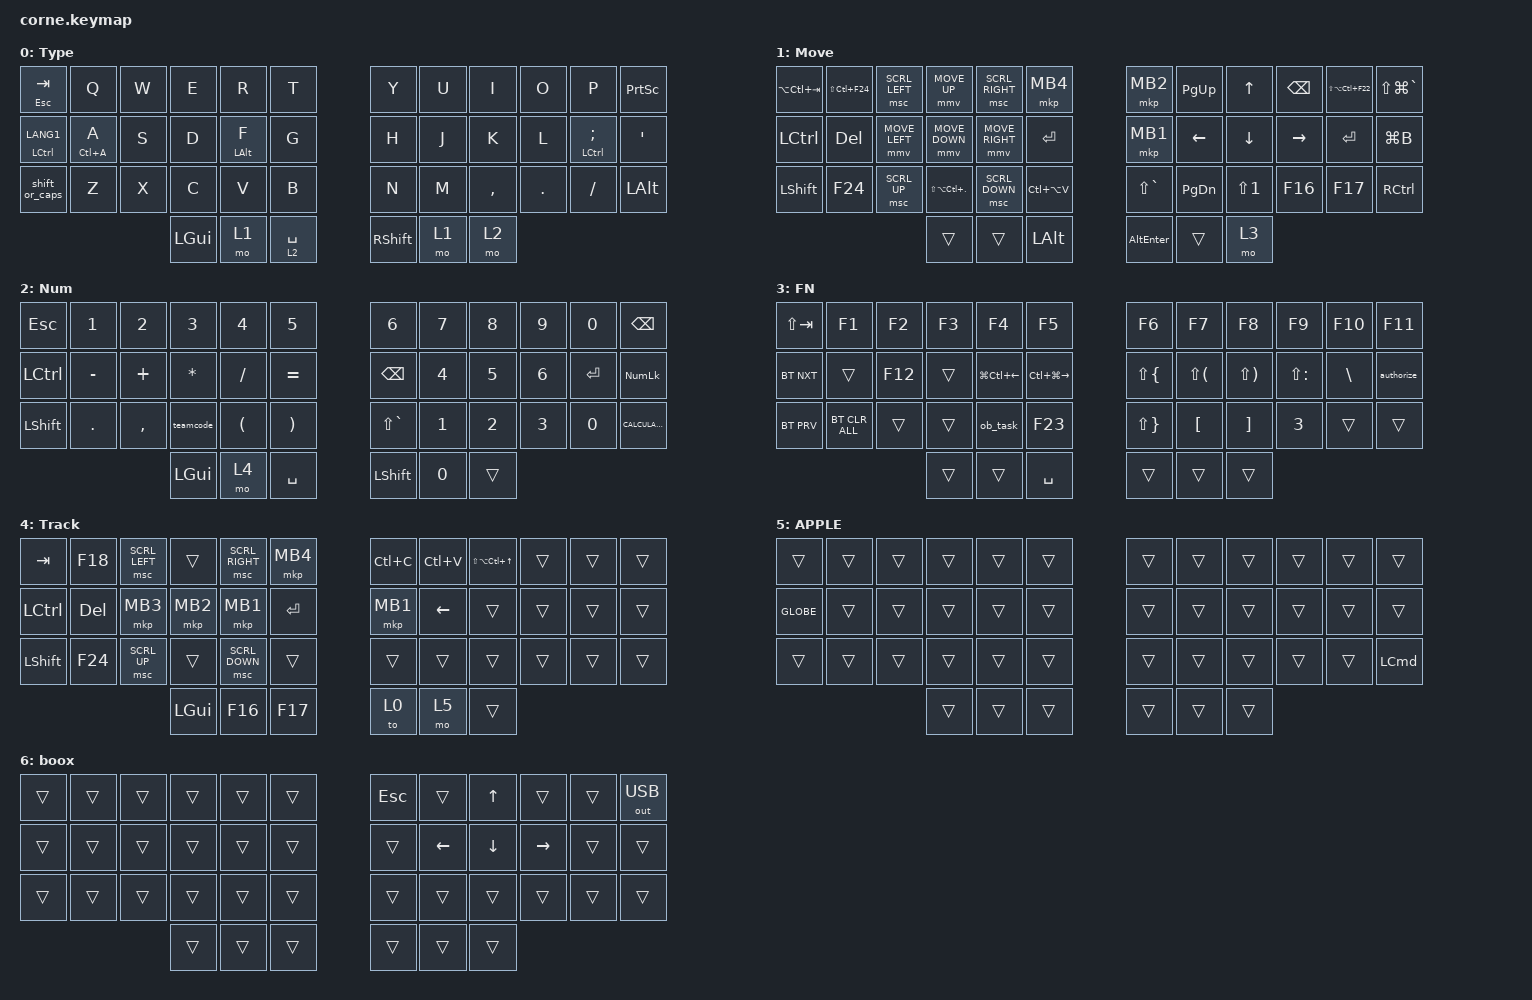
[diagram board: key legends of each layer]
/*
 * Copyright (c) 2020 The ZMK Contributors
 *
 * SPDX-License-Identifier: MIT
 */

#include <behaviors.dtsi>
#include <dt-bindings/zmk/bt.h>
#include <dt-bindings/zmk/keys.h>
#include <dt-bindings/zmk/outputs.h>
#include <dt-bindings/zmk/pointing.h>

#define DEFAULT 0
#define NUMBER  1
#define FN      2
#define HOTKEY  3

/ {
    behaviors {
        Tab_or_Esc: Tab_or_Esc {
            compatible = "zmk,behavior-hold-tap";
            label = "TAB_OR_ESC";
            bindings = <&kp>, <&kp>;

            #binding-cells = <2>;
            tapping-term-ms = <150>;
            flavor = "balanced";
        };

        Alt_or_F: Alt_or_F {
            compatible = "zmk,behavior-hold-tap";
            label = "ALT_OR_F";
            bindings = <&kp>, <&kp>;

            #binding-cells = <2>;
            tapping-term-ms = <250>;
            flavor = "tap-preferred";
        };

        ctrlA_or_A: ctrlA_or_A {
            compatible = "zmk,behavior-hold-tap";
            label = "CTRLA_OR_A";
            bindings = <&kp>, <&kp>;

            #binding-cells = <2>;
            tapping-term-ms = <250>;
            flavor = "tap-preferred";
        };

        Lang_or_Ctrl: Lang_or_Ctrl {
            compatible = "zmk,behavior-hold-tap";
            label = "LANG_OR_CTRL";
            bindings = <&kp>, <&kp>;

            #binding-cells = <2>;
            tapping-term-ms = <200>;
            flavor = "tap-preferred";
            hold-trigger-key-positions = <27 28>;
            quick-tap-ms = <150>;
        };

        semi_or_ctrl: semi_or_ctrl {
            compatible = "zmk,behavior-hold-tap";
            label = "SEMI_OR_CTRL";
            bindings = <&kp>, <&kp>;

            #binding-cells = <2>;
            tapping-term-ms = <100>;
            flavor = "hold-preferred";
            hold-trigger-key-positions = <5 4 3 2 0 1 12 13 14 17 16 15 24 25 26 27 28 29 37 36 38 39 40 41 8 7 6 9 10 11 23 35 34 33 32 30 18 19 20 31 21>;
        };

        shiftorcaps: shiftorcaps {
            compatible = "zmk,behavior-tap-dance";
            label = "SHIFTORCAPS";
            #binding-cells = <0>;
            bindings = <&kp LEFT_SHIFT>, <&kp CAPSLOCK>;
        };

        F4_or_AltF4: F4_or_AltF4 {
            compatible = "zmk,behavior-hold-tap";
            label = "F4_OR_ALTF4";
            bindings = <&kp>, <&kp>;

            #binding-cells = <2>;
            tapping-term-ms = <200>;
            flavor = "tap-preferred";
        };

        shift_or_caps: shift_or_caps {
            compatible = "zmk,behavior-tap-dance";
            label = "SHIFT_OR_CAPS";
            #binding-cells = <0>;
            bindings = <&kp LEFT_SHIFT>, <&kp CAPSLOCK>;
        };
    };

    macros {
        teamcode: teamcode {
            compatible = "zmk,behavior-macro";
            #binding-cells = <0>;
            bindings = <&kp N1 &kp N0 &kp N0 &kp N2 &kp N6 &kp N2 &kp N0 &kp N0 &kp N0>;
            label = "TEAMCODE";
        };

        ob_task: ob_task {
            compatible = "zmk,behavior-macro";
            #binding-cells = <0>;
            bindings = <&none &kp MINUS &kp SPACE &kp LBKT &kp SPACE &kp RBKT &kp SPACE>;
            label = "OB_TASK";
        };

        iphone_lock: iphone_lock {
            compatible = "zmk,behavior-macro";
            #binding-cells = <0>;
            bindings = <&kp LC(LG(Q)) &out OUT_TOG &tog 5 &bt BT_SEL 0>;
            label = "IPHONE_LOCK";
        };

        MS_AlignCenter: MS_AlignCenter {
            compatible = "zmk,behavior-macro";
            #binding-cells = <0>;
            bindings = <&kp LEFT_ALT &kp H &kp A &kp C>;
            label = "MS_ALIGNCENTER";
        };

        MS_fill: MS_fill {
            compatible = "zmk,behavior-macro";
            #binding-cells = <0>;
            bindings = <&kp LEFT_ALT &kp H &kp DOWN &kp DOWN &kp RIGHT &kp UP_ARROW &kp RIGHT &kp ENTER>;
            label = "MS_FILL";
        };

        AltEnter: AltEnter {
            compatible = "zmk,behavior-macro";
            #binding-cells = <0>;
            bindings =
                <&macro_press>,
                <&kp LEFT_ALT>,
                <&macro_tap>,
                <&kp ENTER>,
                <&macro_release>,
                <&kp LEFT_ALT>;

            label = "ALTENTER";
            wait-ms = <50>;
        };

        authorize: authorize {
            compatible = "zmk,behavior-macro";
            #binding-cells = <0>;
            bindings = <&none &kp LS(R) &kp E &kp C &kp E &kp N &kp S &kp EXCL &kp N0 &kp N1 &kp N6>;
            label = "AUTHORIZE";
            tap-ms = <100>;
            wait-ms = <50>;
        };
    };

    combos {
        compatible = "zmk,combos";

        iphone_lock {
            bindings = <&iphone_lock>;
            key-positions = <19 20 21>;
        };

        menu {
            bindings = <&kp K_CONTEXT_MENU>;
            key-positions = <19 9>;
        };

        f2combo {
            bindings = <&kp F2>;
            key-positions = <16 2>;
        };

        f4_or_altf4 {
            bindings = <&F4_or_AltF4 LA(F4) F4>;
            key-positions = <16 4>;
        };

        search {
            bindings = <&kp LA(INSERT)>;
            key-positions = <38 39>;
        };

        scan {
            bindings = <&kp LS(LC(LA(F24)))>;
            key-positions = <5 2>;
        };

        wr {
            bindings = <&kp LS(LA(LC(F13)))>;
            key-positions = <2 4>;
        };

        row {
            bindings = <&kp LS(SPACE)>;
            key-positions = <19 21>;
        };

        column {
            bindings = <&kp LC(SPACE)>;
            key-positions = <8 20>;
        };

        ms_fill {
            bindings = <&MS_fill>;
            key-positions = <27 15>;
        };

        MS_AlignCenter {
            bindings = <&MS_AlignCenter>;
            key-positions = <13 27>;
        };

        ToType {
            bindings = <&to 0>;
            key-positions = <19 20 21 22>;
        };
    };

    keymap {
        compatible = "zmk,keymap";

        L0 {
            label = "Type";
            bindings = <
&Tab_or_Esc ESC TAB        &kp Q                &kp W  &kp E         &kp R             &kp T          &kp Y       &kp U  &kp I      &kp O    &kp P                          &kp PRINTSCREEN
&Lang_or_Ctrl LCTRL LANG1  &ctrlA_or_A LC(A) A  &kp S  &kp D         &Alt_or_F LALT F  &kp G          &kp H       &kp J  &kp K      &kp L    &semi_or_ctrl LCTRL SEMICOLON  &kp SQT
&shift_or_caps             &kp Z                &kp X  &kp C         &kp V             &kp B          &kp N       &kp M  &kp COMMA  &kp DOT  &kp FSLH                       &kp LEFT_ALT
                                                       &kp LEFT_GUI  &mo 1             &lt 2 SPACE    &kp RSHIFT  &mo 1  &mo 2
            >;
        };

        L1 {
            label = "Move";
            bindings = <
&kp LA(LC(TAB))  &kp LS(LC(F24))  &msc SCRL_LEFT  &mmv MOVE_UP            &msc SCRL_RIGHT  &mkp MB4         &mkp MB2       &kp PAGE_UP    &kp UP            &kp BACKSPACE  &kp LS(LA(LC(F22)))  &kp LS(LG(GRAVE))
&kp LCTRL        &kp DELETE       &mmv MOVE_LEFT  &mmv MOVE_DOWN          &mmv MOVE_RIGHT  &kp ENTER        &mkp MB1       &kp LEFT       &kp DOWN          &kp RIGHT      &kp ENTER            &kp LG(B)
&kp LEFT_SHIFT   &kp F24          &msc SCRL_UP    &kp LS(LA(LC(PERIOD)))  &msc SCRL_DOWN   &kp LC(LA(V))    &kp LS(GRAVE)  &kp PAGE_DOWN  &kp LS(NUMBER_1)  &kp F16        &kp F17              &kp RCTRL
                                                  &trans                  &trans           &kp LALT         &AltEnter      &trans         &mo 3
            >;
        };

        L2 {
            label = "Num";
            bindings = <
&kp ESC     &kp N1      &kp N2     &kp N3        &kp N4                &kp N5                   &kp N6         &kp N7  &kp N8        &kp N9        &kp N0     &kp BACKSPACE
&kp LCTRL   &kp MINUS   &kp PLUS   &kp ASTERISK  &kp SLASH             &kp EQUAL                &kp BACKSPACE  &kp N4  &kp N5        &kp NUMBER_6  &kp ENTER  &kp KP_NUMLOCK
&kp LSHIFT  &kp PERIOD  &kp COMMA  &teamcode     &kp LEFT_PARENTHESIS  &kp RIGHT_PARENTHESIS    &kp LS(GRAVE)  &kp N1  &kp NUMBER_2  &kp NUMBER_3  &kp N0     &kp K_CALCULATOR
                                   &kp LEFT_GUI  &mo 4                 &kp SPACE                &kp LSHFT      &kp N0  &trans
            >;
        };

        L3 {
            label = "FN";
            bindings = <
&kp LS(TAB)  &kp F1          &kp F2   &kp F3  &kp F4                  &kp F5               &kp F6        &kp F7        &kp F8        &kp F9         &kp F10   &kp F11
&bt BT_NXT   &trans          &kp F12  &trans  &kp LG(LC(LEFT_ARROW))  &kp LC(LG(RIGHT))    &kp LS(LBRC)  &kp LS(LPAR)  &kp LS(RPAR)  &kp LS(COLON)  &kp BSLH  &authorize
&bt BT_PRV   &bt BT_CLR_ALL  &trans   &trans  &ob_task                &kp F23              &kp LS(RBRC)  &kp LBKT      &kp RBKT      &kp N3         &trans    &trans
                                      &trans  &trans                  &kp SPACE            &trans        &trans        &trans
            >;
        };

        L4 {
            bindings = <
&kp TAB    &kp F18  &msc SCRL_LEFT  &trans    &msc SCRL_RIGHT  &mkp MB4     &kp LC(C)  &kp LC(V)  &kp LS(LA(LC(UP_ARROW)))  &trans  &trans  &trans
&kp LCTRL  &kp DEL  &mkp MB3        &mkp MB2  &mkp MB1         &kp ENTER    &mkp MB1   &kp LEFT   &trans                    &trans  &trans  &trans
&kp LSHFT  &kp F24  &msc SCRL_UP    &trans    &msc SCRL_DOWN   &trans       &trans     &trans     &trans                    &trans  &trans  &trans
                                    &kp LGUI  &kp F16          &kp F17      &to 0      &mo 5      &trans
            >;

            label = "Track";
        };

        L5 {
            bindings = <
&trans     &trans  &trans  &trans  &trans  &trans    &trans  &trans  &trans  &trans  &trans  &trans
&kp GLOBE  &trans  &trans  &trans  &trans  &trans    &trans  &trans  &trans  &trans  &trans  &trans
&trans     &trans  &trans  &trans  &trans  &trans    &trans  &trans  &trans  &trans  &trans  &kp LCMD
                           &trans  &trans  &trans    &trans  &trans  &trans
            >;

            label = "APPLE";
        };

        boox {
            bindings = <
&trans  &trans  &trans  &trans  &trans  &trans    &kp ESC  &trans    &kp UP    &trans     &trans  &out OUT_USB
&trans  &trans  &trans  &trans  &trans  &trans    &trans   &kp LEFT  &kp DOWN  &kp RIGHT  &trans  &trans
&trans  &trans  &trans  &trans  &trans  &trans    &trans   &trans    &trans    &trans     &trans  &trans
                        &trans  &trans  &trans    &trans   &trans    &trans
            >;

            label = "boox";
        };
    };
};
